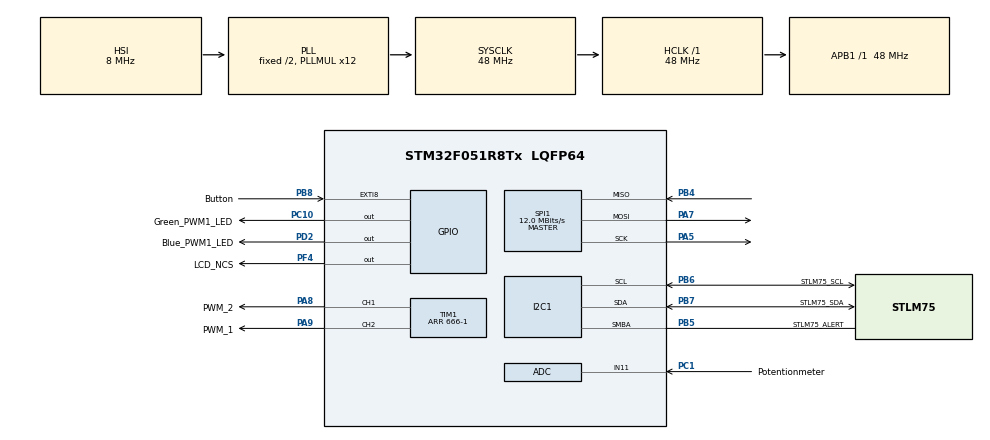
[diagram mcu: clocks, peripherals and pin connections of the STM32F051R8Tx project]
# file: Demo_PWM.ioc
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ADC.ContinuousConvMode=DISABLE
ADC.ExternalTrigConv=ADC_EXTERNALTRIGCONV_T2_TRGO
ADC.Overrun=ADC_OVR_DATA_OVERWRITTEN
ADC.SamplingTime=ADC_SAMPLETIME_28CYCLES_5
ADC.ScanConvMode=ADC_SCAN_DIRECTION_BACKWARD
I2C1.I2C_Fall_Time=10
I2C1.I2C_Rise_Time=50
I2C1.SMBusOwnAddress=0x1
I2C1.Timing=0x00201D2C
Mcu.Family=STM32F0
Mcu.Name=STM32F051R8Tx
Mcu.Package=LQFP64
NVIC.ADC1_COMP_IRQn=true\:0\:0\:false\:false\:true\:true\:true\:true
NVIC.EXTI4_15_IRQn=true\:0\:0\:false\:false\:true\:true\:true\:true
NVIC.I2C1_IRQn=true\:0\:0\:false\:false\:true\:true\:true\:true
PA5.Mode=Full_Duplex_Master
PA5.Signal=SPI1_SCK
PA7.Mode=Full_Duplex_Master
PA7.Signal=SPI1_MOSI
PA8.GPIO_Label=PWM_2
PA8.Signal=S_TIM1_CH1
PA9.GPIO_Label=PWM_1
PA9.Signal=S_TIM1_CH2
PB4.Mode=Full_Duplex_Master
PB4.Signal=SPI1_MISO
PB5.GPIO_Label=STLM75_ALERT
PB5.Mode=SMBus-Alert-mode
PB5.Signal=I2C1_SMBA
PB6.GPIO_Label=STLM75_SCL
PB6.Mode=SMBus-Alert-mode
PB6.Signal=I2C1_SCL
PB7.GPIO_Label=STLM75_SDA
PB7.Mode=SMBus-Alert-mode
PB7.Signal=I2C1_SDA
PB8.GPIO_Label=Button
PB8.Signal=GPXTI8
PC1.GPIO_Label=Potentionmeter
PC1.Mode=IN11
PC1.Signal=ADC_IN11
PC10.GPIO_Label=Green_PWM1_LED
PC10.Signal=GPIO_Output
PD2.GPIO_Label=Blue_PWM1_LED
PD2.Signal=GPIO_Output
PF4.GPIO_Label=LCD_NCS
PF4.Signal=GPIO_Output
ProjectManager.HeapSize=0x200
ProjectManager.StackSize=0x400
ProjectManager.TargetToolchain=STM32CubeIDE
RCC.AHBFreq_Value=48000000
RCC.APB1Freq_Value=48000000
RCC.APB1TimFreq_Value=48000000
RCC.HCLKFreq_Value=48000000
RCC.PLLMUL=RCC_PLL_MUL12
RCC.SYSCLKFreq_VALUE=48000000
RCC.SYSCLKSource=RCC_SYSCLKSOURCE_PLLCLK
SH.S_TIM1_CH1.0=TIM1_CH1,PWM Generation1 CH1
SH.S_TIM1_CH2.0=TIM1_CH2,PWM Generation2 CH2
SPI1.BaudRatePrescaler=SPI_BAUDRATEPRESCALER_4
SPI1.CLKPhase=SPI_PHASE_2EDGE
SPI1.CLKPolarity=SPI_POLARITY_HIGH
SPI1.CalculateBaudRate=12.0 MBits/s
SPI1.Direction=SPI_DIRECTION_2LINES
SPI1.Mode=SPI_MODE_MASTER
SPI1.VirtualType=VM_MASTER
TIM1.Channel-PWM\ Generation1\ CH1=TIM_CHANNEL_1
TIM1.Channel-PWM\ Generation2\ CH2=TIM_CHANNEL_2
TIM1.Period=666-1
TIM2.Period=2400
TIM2.TIM_MasterOutputTrigger=TIM_TRGO_UPDATE
VP_TIM2_VS_ClockSourceITR.Mode=TriggerSource_ITR0
board=custom

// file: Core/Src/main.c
/* USER CODE BEGIN Header */
/**
  ******************************************************************************
  * @file           : main.c
  * @brief          : Main program body
  ******************************************************************************
  * @attention
  *
  * Copyright (c) 2022 STMicroelectronics.
  * All rights reserved.
  *
  * This software is licensed under terms that can be found in the LICENSE file
  * in the root directory of this software component.
  * If no LICENSE file comes with this software, it is provided AS-IS.
  *
  ******************************************************************************
  */
/* USER CODE END Header */
#include "main.h"
#include "adc.h"
#include "i2c.h"
#include "spi.h"
#include "tim.h"
#include "gpio.h"

/* USER CODE BEGIN PTD */
extern TIM_OC_InitTypeDef sConfigOC;
/* USER CODE END PTD */

/* USER CODE BEGIN PV */
/* Variable used to get converted value */
__IO uint16_t uhADCxConvertedValue = 0;
/* USER CODE END PV */

void SystemClock_Config(void);
/* USER CODE BEGIN PFP */
uint16_t map(uint16_t x, uint16_t in_min, uint16_t in_max, uint16_t out_min, uint16_t out_max);
/* USER CODE END PFP */

/* USER CODE BEGIN 0 */
typedef enum {
	PWM_CHANNEL_1 = 1,
	PWM_CHANNEL_2
} PWM_Channel;

PWM_Channel pwm_channel = PWM_CHANNEL_1;

uint8_t duty_cycle;
/* USER CODE END 0 */

int main(void)
{

  /* MCU Configuration--------------------------------------------------------*/

  /* Reset of all peripherals, Initializes the Flash interface and the Systick. */
  HAL_Init();

  /* Configure the system clock */
  SystemClock_Config();

  /* Initialize all configured peripherals */
  MX_GPIO_Init();
  MX_ADC_Init();
  MX_I2C1_SMBUS_Init();
  MX_SPI1_Init();
  MX_TIM1_Init();
  MX_TIM2_Init();
  /* USER CODE BEGIN 2 */
  if (HAL_ADC_Start_IT(&hadc) != HAL_OK)
  {
    /* Start Conversation Error */
    Error_Handler();
  }

  if (HAL_TIM_Base_Start(&htim2) != HAL_OK)
  {
    /* Counter Enable Error */
    Error_Handler();
  }

  sConfigOC.Pulse =  10;
  if (HAL_TIM_PWM_ConfigChannel(&htim1, &sConfigOC, TIM_CHANNEL_1)) {
	Error_Handler();
  }

  sConfigOC.Pulse =  50;
  if (HAL_TIM_PWM_ConfigChannel(&htim1, &sConfigOC, TIM_CHANNEL_2)) {
	Error_Handler();
  }

  if (HAL_TIM_PWM_Start(&htim1, TIM_CHANNEL_1)) {
	Error_Handler();
  }

  if (HAL_TIM_PWM_Start(&htim1, TIM_CHANNEL_2)) {
	Error_Handler();
  }

  /* USER CODE END 2 */

  /* Infinite loop */
  while (1)
  {

  }
}

void SystemClock_Config(void)
{
  RCC_OscInitTypeDef RCC_OscInitStruct = {0};
  RCC_ClkInitTypeDef RCC_ClkInitStruct = {0};
  RCC_PeriphCLKInitTypeDef PeriphClkInit = {0};

  /** Initializes the RCC Oscillators according to the specified parameters
  * in the RCC_OscInitTypeDef structure.
  */
  RCC_OscInitStruct.OscillatorType = RCC_OSCILLATORTYPE_HSI|RCC_OSCILLATORTYPE_HSI14;
  RCC_OscInitStruct.HSIState = RCC_HSI_ON;
  RCC_OscInitStruct.HSI14State = RCC_HSI14_ON;
  RCC_OscInitStruct.HSICalibrationValue = RCC_HSICALIBRATION_DEFAULT;
  RCC_OscInitStruct.HSI14CalibrationValue = 16;
  RCC_OscInitStruct.PLL.PLLState = RCC_PLL_ON;
  RCC_OscInitStruct.PLL.PLLSource = RCC_PLLSOURCE_HSI;
  RCC_OscInitStruct.PLL.PLLMUL = RCC_PLL_MUL12;
  RCC_OscInitStruct.PLL.PREDIV = RCC_PREDIV_DIV1;
  if (HAL_RCC_OscConfig(&RCC_OscInitStruct) != HAL_OK)
  {
    Error_Handler();
  }

  /** Initializes the CPU, AHB and APB buses clocks
  */
  RCC_ClkInitStruct.ClockType = RCC_CLOCKTYPE_HCLK|RCC_CLOCKTYPE_SYSCLK
                              |RCC_CLOCKTYPE_PCLK1;
  RCC_ClkInitStruct.SYSCLKSource = RCC_SYSCLKSOURCE_PLLCLK;
  RCC_ClkInitStruct.AHBCLKDivider = RCC_SYSCLK_DIV1;
  RCC_ClkInitStruct.APB1CLKDivider = RCC_HCLK_DIV1;

  if (HAL_RCC_ClockConfig(&RCC_ClkInitStruct, FLASH_LATENCY_1) != HAL_OK)
  {
    Error_Handler();
  }
  PeriphClkInit.PeriphClockSelection = RCC_PERIPHCLK_I2C1;
  PeriphClkInit.I2c1ClockSelection = RCC_I2C1CLKSOURCE_HSI;
  if (HAL_RCCEx_PeriphCLKConfig(&PeriphClkInit) != HAL_OK)
  {
    Error_Handler();
  }
}

/* USER CODE BEGIN 4 */
/**
  * @brief  Conversion complete callback in non blocking mode
  * @param  AdcHandle : AdcHandle handle
  * @note   This example shows a simple way to report end of conversion, and
  *         you can add your own implementation.
  * @retval None
  */
void HAL_ADC_ConvCpltCallback(ADC_HandleTypeDef *AdcHandle)
{
  /* Get the converted value of regular channel */
  uhADCxConvertedValue = HAL_ADC_GetValue(AdcHandle);
  duty_cycle = map(uhADCxConvertedValue, 1, 4096, 1, 100);
  if (pwm_channel == PWM_CHANNEL_1) {
	  // Change Duty Cycle for PWM_Channel_1
	  htim1.Instance->CCR1 = duty_cycle;
  }
  if (pwm_channel == PWM_CHANNEL_2) {
	  // Change Duty Cycle for PWM_Channel_2
	  htim1.Instance->CCR2 = duty_cycle;
  }
}

/**
 * @brief map() is used to map range of bvalues to another range
 */
uint16_t map(uint16_t x, uint16_t in_min, uint16_t in_max, uint16_t out_min, uint16_t out_max) {
  return (x - in_min) * (out_max - out_min) / (in_max - in_min) + out_min;
}

/**
  * @brief  EXTI line detection callback.
  * @param  GPIO_Pin Specifies the port pin connected to corresponding EXTI line.
  * @retval None
  */
void HAL_GPIO_EXTI_Callback(uint16_t GPIO_Pin)
{
	// Switch PWM Channel
	if (pwm_channel == PWM_CHANNEL_1) {
		pwm_channel = PWM_CHANNEL_2;
	} else {
		pwm_channel = PWM_CHANNEL_1;
	}
}
/* USER CODE END 4 */

void Error_Handler(void)
{
  __disable_irq();
  while (1)
  {
  }
}
